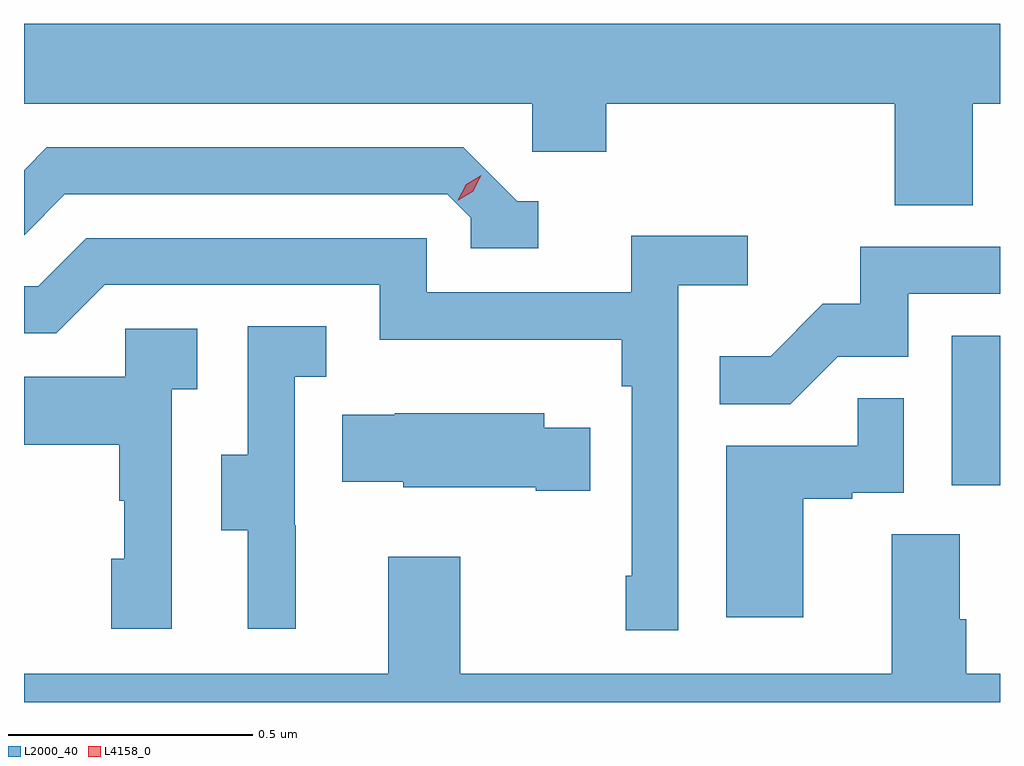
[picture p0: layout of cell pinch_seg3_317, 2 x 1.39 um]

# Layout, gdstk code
import gdstk
lib = gdstk.Library(unit=1e-6, precision=1e-09)
def R(c, l, rs):  # rectangles x0, y0, x1, y1
    for r in rs: c.add(gdstk.rectangle(r[:2], r[2:], *l))
def P(c, l, *ps):  # polygons
    for p in ps: c.add(gdstk.Polygon(p, *l))
L2000_40 = (2000, 40)
L4158_0 = (4158, 0)

pinch_seg3_317 = lib.new_cell('pinch_seg3_317')
R(pinch_seg3_317, L2000_40, [(991.646,713.454,991.745,713.761)])
P(pinch_seg3_317, L2000_40, [(991.689,714.236),(991.745,714.236),(991.745,714.4),(989.745,714.4),(989.745,714.236),(990.786,714.236),(990.786,714.138),(990.938,714.138),(990.938,714.236),(991.529,714.236),(991.529,714.028),(991.689,714.028)],
  [(990.799,714.036),(990.756,714.036),(990.645,714.147),(989.792,714.147),(989.745,714.1),(989.745,713.967),(989.829,714.051),(990.612,714.051),(990.66,714.003),(990.66,713.94),(990.799,713.94)],
  [(991.086,713.864),(991.228,713.864),(991.228,713.966),(990.989,713.966),(990.989,713.85),(990.57,713.85),(990.57,713.961),(989.873,713.961),(989.774,713.862),(989.745,713.862),(989.745,713.766),(989.811,713.766),(989.91,713.865),(990.474,713.865),(990.474,713.753),(990.97,713.753),(990.97,713.657),(990.99,713.657),(990.99,713.269),(990.978,713.269),(990.978,713.157),(991.086,713.157)],
  [(991.413,713.718),(991.557,713.718),(991.557,713.847),(991.745,713.847),(991.745,713.943),(991.459,713.943),(991.459,713.826),(991.382,713.826),(991.275,713.719),(991.171,713.719),(991.171,713.62),(991.315,713.62)],
  [(990.302,713.373),(990.3,713.373),(990.3,713.677),(990.364,713.677),(990.364,713.78),(990.204,713.78),(990.204,713.517),(990.149,713.517),(990.149,713.362),(990.203,713.362),(990.203,713.16),(990.302,713.16)],
  [(990.048,713.651),(990.1,713.651),(990.1,713.775),(989.952,713.775),(989.952,713.677),(989.745,713.677),(989.745,713.537),(989.94,713.537),(989.94,713.423),(989.95,713.423),(989.95,713.304),(989.924,713.304),(989.924,713.16),(990.048,713.16)],
  [(991.342,713.427),(991.442,713.427),(991.442,713.439),(991.548,713.439),(991.548,713.633),(991.453,713.633),(991.453,713.535),(991.184,713.535),(991.184,713.184),(991.342,713.184)],
  [(990.905,713.572),(990.811,713.572),(990.811,713.602),(990.505,713.602),(990.505,713.599),(990.397,713.599),(990.397,713.462),(990.522,713.462),(990.522,713.45),(990.794,713.45),(990.794,713.443),(990.905,713.443)],
  [(991.663,713.18),(991.663,713.354),(991.523,713.354),(991.523,713.068),(990.639,713.068),(990.639,713.308),(990.491,713.308),(990.491,713.068),(989.745,713.068),(989.745,713.01),(991.745,713.01),(991.745,713.068),(991.676,713.068),(991.676,713.18)])
P(pinch_seg3_317, L4158_0, [(990.634,714.038),(990.634,714.039),(990.651,714.071),(990.682,714.09),(990.682,714.09),(990.682,714.09),(990.666,714.057),(990.635,714.038)])

lib.write_gds('pinch_seg3_317.gds')
